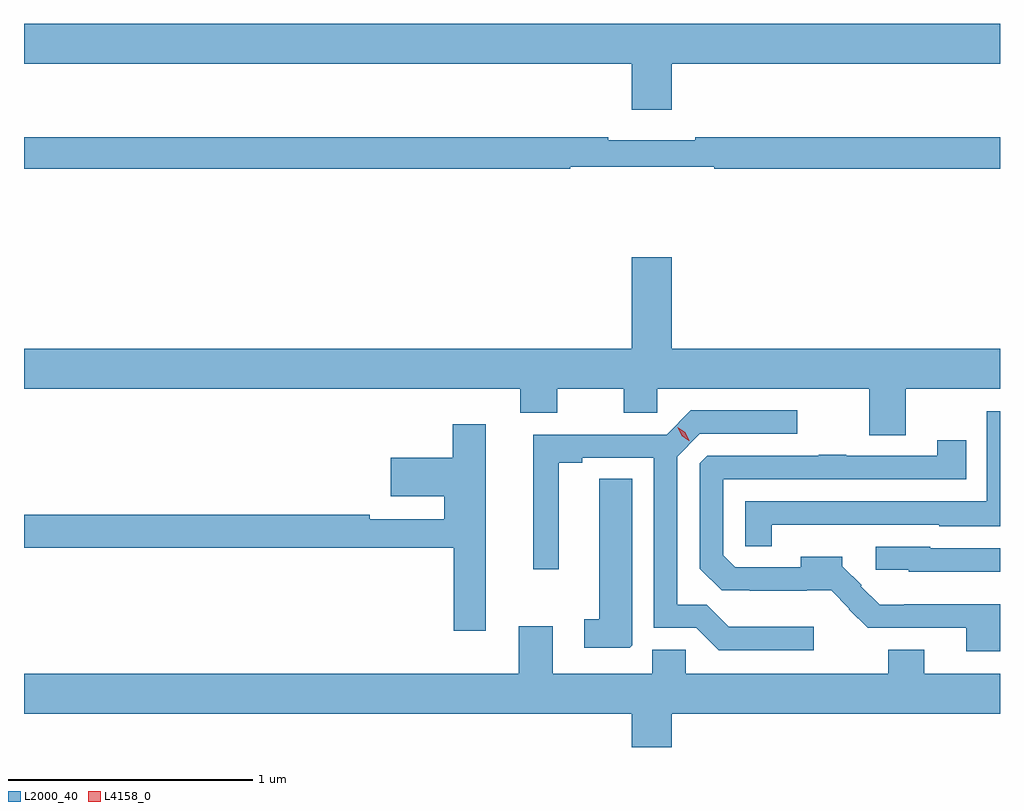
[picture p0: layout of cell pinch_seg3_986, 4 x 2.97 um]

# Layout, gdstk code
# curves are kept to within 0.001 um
import gdstk
lib = gdstk.Library(unit=1e-6, precision=1e-09)
def P(c, l, *ps):  # polygons
    for p in ps: c.add(gdstk.Polygon(p, *l))
L2000_40 = (2000, 40)
L4158_0 = (4158, 0)

pinch_seg3_986 = lib.new_cell('pinch_seg3_986')
P(pinch_seg3_986, L2000_40, [(476.86,694.256),(478.206,694.256),(478.206,694.42),(474.206,694.42),(474.206,694.256),(476.696,694.256),(476.696,694.068),(476.86,694.068)],
  [(476.445,693.834),(477.034,693.834),(477.034,693.826),(478.206,693.826),(478.206,693.955),(476.956,693.955),(476.956,693.942),(476.6,693.942),(476.6,693.955),(474.206,693.955),(474.206,693.826),(476.445,693.826)],
  [(477.819,692.924),(478.206,692.924),(478.206,693.088),(476.86,693.088),(476.86,693.463),(476.696,693.463),(476.696,693.088),(474.206,693.088),(474.206,692.924),(476.24,692.924),(476.24,692.825),(476.392,692.825),(476.392,692.924),(476.663,692.924),(476.663,692.826),(476.802,692.826),(476.802,692.924),(477.671,692.924),(477.671,692.734),(477.819,692.734)],
  [(477.442,691.948),(477.095,691.948),(477.004,692.039),(476.883,692.039),(476.883,692.646),(476.976,692.739),(477.376,692.739),(477.376,692.835),(476.939,692.835),(476.84,692.736),(476.294,692.736),(476.294,692.184),(476.398,692.184),(476.398,692.62),(476.494,692.62),(476.494,692.64),(476.787,692.64),(476.787,691.944),(476.961,691.944),(477.054,691.851),(477.442,691.851)],
  [(477.271,692.366),(477.525,692.366),(477.525,692.367),(477.957,692.367),(477.957,692.36),(478.206,692.36),(478.206,692.832),(478.152,692.832),(478.152,692.463),(477.162,692.463),(477.162,692.278),(477.271,692.278)],
  [(476.098,692.779),(475.964,692.779),(475.964,692.641),(475.71,692.641),(475.71,692.483),(475.928,692.483),(475.928,692.388),(475.622,692.388),(475.622,692.408),(474.206,692.408),(474.206,692.272),(475.967,692.272),(475.967,691.932),(476.098,691.932)],
  [(478.206,692.041),(477.814,692.041),(477.814,692.039),(477.713,692.039),(477.636,692.115),(477.639,692.118),(477.56,692.197),(477.56,692.236),(477.389,692.236),(477.389,692.193),(477.12,692.193),(477.072,692.241),(477.072,692.553),(478.067,692.553),(478.067,692.713),(477.949,692.713),(477.949,692.649),(477.575,692.649),(477.575,692.654),(477.463,692.654),(477.463,692.649),(477.006,692.649),(476.976,692.619),(476.976,692.187),(477.065,692.098),(477.181,692.098),(477.181,692.096),(477.515,692.097),(477.589,692.023),(477.587,692.021),(477.663,691.944),(478.067,691.944),(478.067,691.848),(478.206,691.848)],
  [(476.698,691.873),(476.698,692.555),(476.564,692.555),(476.564,691.979),(476.502,691.979),(476.502,691.863),(476.688,691.863)],
  [(478.206,692.271),(477.921,692.271),(477.921,692.277),(477.696,692.277),(477.696,692.181),(477.831,692.181),(477.831,692.174),(478.206,692.174)],
  [(476.86,691.592),(478.206,691.592),(478.206,691.756),(477.895,691.756),(477.895,691.855),(477.748,691.855),(477.748,691.756),(476.919,691.756),(476.919,691.854),(476.78,691.854),(476.78,691.756),(476.374,691.756),(476.374,691.951),(476.234,691.951),(476.234,691.756),(474.206,691.756),(474.206,691.592),(476.696,691.592),(476.696,691.454),(476.86,691.454)])
P(pinch_seg3_986, L4158_0, [(476.931,692.71),(476.901,692.732),(476.886,692.766),(476.886,692.766),(476.886,692.766),(476.916,692.745),(476.932,692.711),(476.932,692.71)])

lib.write_gds('pinch_seg3_986.gds')
